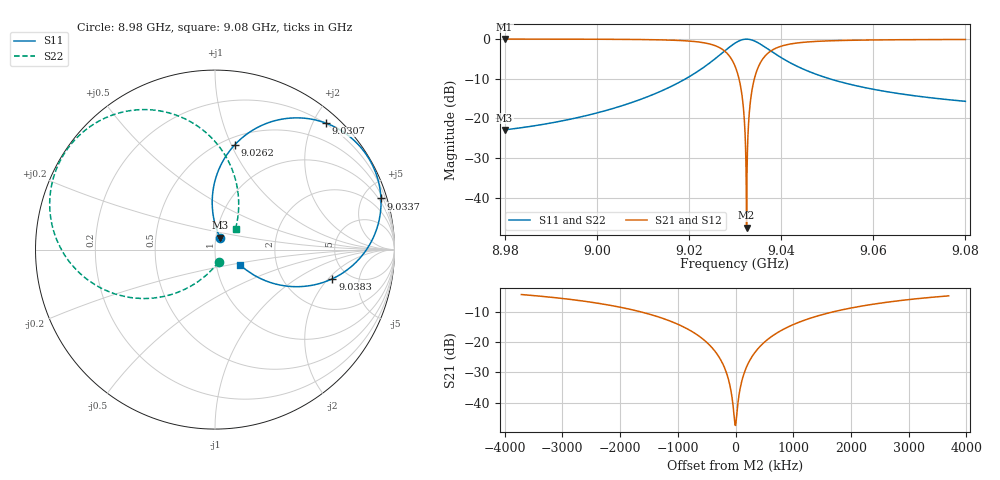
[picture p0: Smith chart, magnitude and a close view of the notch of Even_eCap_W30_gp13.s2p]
! Sonnet Data File
! From: emgraph Version : 16.52
! From Project: Resonator2_extremeCap
! Data is De-embedded
! Data File Written: 10/10/2017 20:29:21
!< HDATE 10/09/2017 23:04:37
!< MDATE 10/09/2017 23:04:37
!< PARAMS
!< Pwid1 = 2000.0
!< Pwid2 = 2000.0
!< Air_gap = 18.0
!< Width = 30.0
!< Gap = 13.0
!< END PARAMS
# GHZ S MA R 51.80000
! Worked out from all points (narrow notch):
!   1596 points, 8.98 GHz to 9.08 GHz, reference 51.8 ohm
!   highest |S21| = -0.02 dB at 8.98 GHz (marker M1); lowest = -47.5 dB at 9.0325 GHz (marker M2)
!   notch at M2: 46.7 dB deep, 619 kHz wide at half that depth
!   lowest |S11| = -22.9 dB at 8.98 GHz (marker M3), VSWR 1.15, Z = 54.3 + j7.2 ohm
!   |S11| at or under -10 dB: start of sweep to 9.01933 GHz; 9.050469 GHz to end of sweep
!   |S22| runs from -22.9 to 0.0 dB; largest |S21 - S12| = 0
!   S11 on the Smith chart (normalised r, x): 8.98 GHz: 1.05, +0.14; 9.0262 GHz: 0.57, +1.03; 9.0307 GHz: 0.19, +2.19; 9.0337 GHz: 0.73, +6.56; 9.0383 GHz: 3.73, -2.22; 9.08 GHz: 1.30, -0.23
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8.98  0.07161 67.2  0.9974 -93.3  0.9974 -93.3  0.07155 -73.9
!< P1 F=8.98 Eeff=(6.44501582 -2.9712e-5) Z0=(50.6182877 1.16785e-4) R=0.0 C=0.0
!< P2 F=8.98 Eeff=(6.44501582 -2.9712e-5) Z0=(50.6182877 1.16785e-4) R=0.0 C=0.0
8.9967  0.1049 83.4  0.9944 -96.0  0.9944 -96.0  0.1048 -95.5
9.0134  0.2134 93.5  0.9767 -103.0  0.9767 -103.0  0.2133 -119.6
9.0208  0.3554 91.1  0.934 -111.7  0.934 -111.7  0.3552 -134.8
9.0262  0.5958 79.2  0.8011 -127.7  0.8011 -127.7  0.5955 -155.0
9.03  0.8863 55.7  0.4561 -153.6  0.4561 -153.6  0.8858 176.2
9.030739  0.9374 48.7  0.3377 -160.8  0.3377 -160.8  0.937 168.2
9.031496  0.976 41.0  0.1994 -168.6  0.1994 -168.6  0.9755 159.5
9.032055  0.992 35.0  0.09009 -173.5  0.09009 -173.5  0.9915 152.8
9.032328  0.9954 32.1  0.03577 -172.6  0.03577 -172.6  0.995 149.4
9.0324  0.9958 31.3  0.02164 -169.0  0.02164 -169.0  0.9954 148.6
9.032478  0.9961 30.4  0.007004 -144.6  0.007004 -144.6  0.9956 147.6
9.032509  0.9961 30.1  0.004198 -83.1  0.004198 -83.1  0.9956 147.2
9.032633  0.9958 28.8  0.02566 -12.1  0.02566 -12.1  0.9953 145.7
9.032816  0.9942 26.8  0.06167 -8.7  0.06167 -8.7  0.9937 143.5
9.033205  0.9867 22.7  0.1373 -10.9  0.1373 -10.9  0.9862 138.9
9.033749  0.9676 17.1  0.2378 -16.0  0.2378 -16.0  0.9672 132.7
9.0355  0.862 1.8  0.5014 -31.9  0.5014 -31.9  0.8616 115.2
9.0383  0.6736 -14.0  0.7369 -49.1  0.7369 -49.1  0.6733 96.1
9.0469  0.3724 -30.2  0.9276 -69.8  0.9276 -69.8  0.3723 70.7
9.0634  0.2147 -33.2  0.9766 -79.7  0.9766 -79.7  0.2147 54.0
9.08  0.164 -31.5  0.9864 -83.0  0.9864 -83.0  0.1639 45.6
